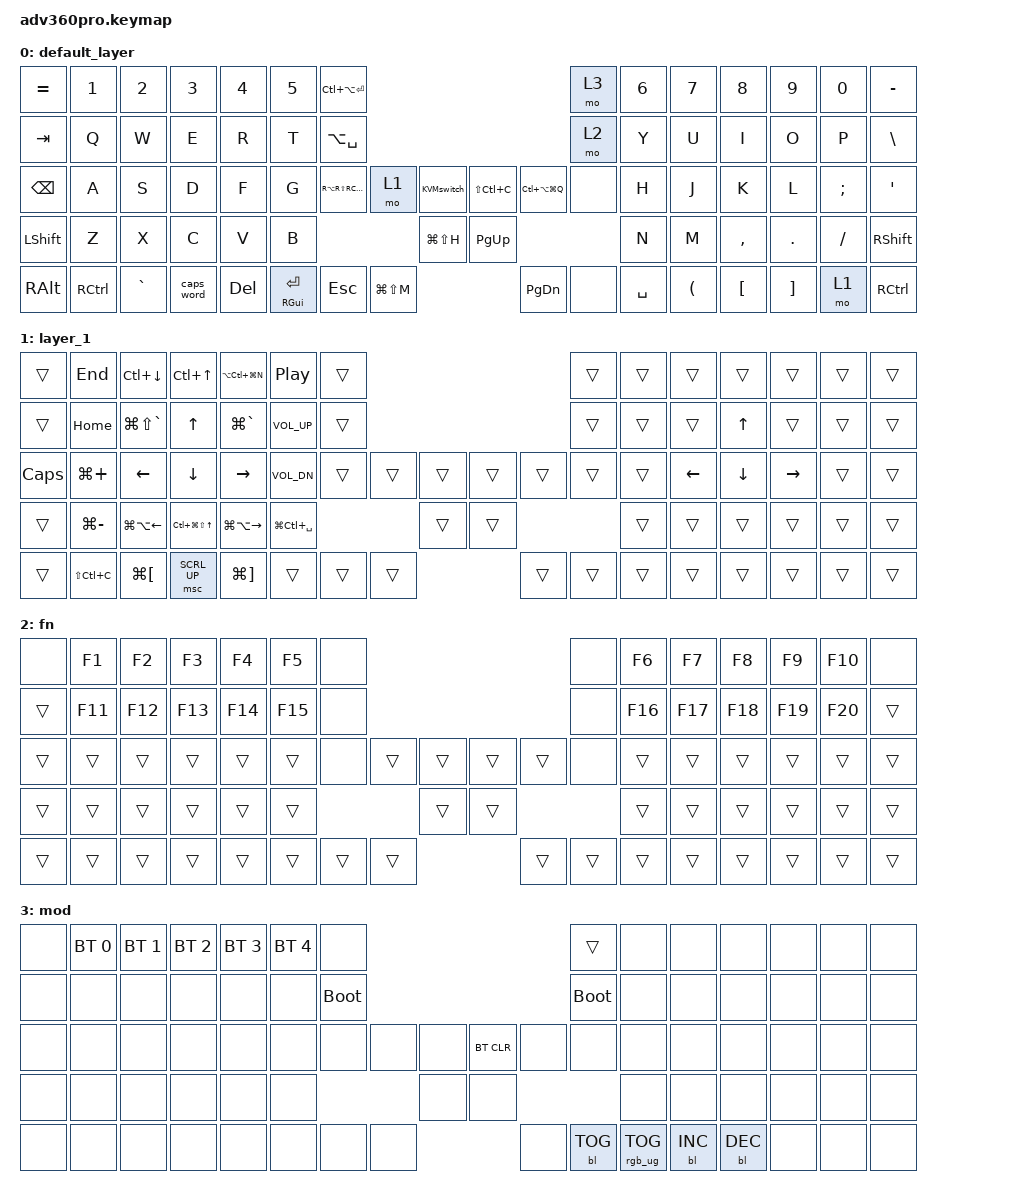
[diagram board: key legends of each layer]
#include <behaviors.dtsi>
#include <dt-bindings/zmk/backlight.h>
#include <dt-bindings/zmk/bt.h>
#include <dt-bindings/zmk/keys.h>
#include <dt-bindings/zmk/pointing.h>
#include <dt-bindings/zmk/rgb.h>

/ {
    behaviors {
        jlrHRM: jlrHRM {
            compatible = "zmk,behavior-hold-tap";
            label = "JLRHRM";
            #binding-cells = <2>;
            bindings = <&kp>, <&kp>;

            flavor = "tap-preferred";
            tapping-term-ms = <150>;
            quick-tap-ms = <0>;
            hold-trigger-key-positions = <32 31 30 29 41 42 43 44>;
            hold-trigger-on-release;
        };
    };

    macros {
        /* Ctrl, Ctrl, 0 (tap sequence) */

        KVMswitch: KVMswitch {
            compatible = "zmk,behavior-macro";
            label = "KVMSWITCH";
            #binding-cells = <0>;
            bindings =
                <&macro_tap>,
                <&kp LCTRL>,
                <&macro_tap>,
                <&kp LCTRL>,
                <&macro_tap>,
                <&kp N0>;
        };

        /* macOS Tile Left Half: Globe + Ctrl + Left */

        TileLeftHalf: TileLeftHalf {
            compatible = "zmk,behavior-macro";
            label = "TILELEFTHALF";
            #binding-cells = <0>;
            bindings =
                <&macro_press>,
                <&kp GLOBE &kp LCTRL>,
                <&macro_tap>,
                <&kp LEFT>,
                <&macro_release>,
                <&kp LCTRL &kp GLOBE>;
        };

        /* macOS Tile Right Half: Globe + Ctrl + Right */

        TileRightHalf: TileRightHalf {
            compatible = "zmk,behavior-macro";
            label = "TILERIGHTHALF";
            #binding-cells = <0>;
            bindings =
                <&macro_press>,
                <&kp GLOBE &kp LCTRL>,
                <&macro_tap>,
                <&kp RIGHT>,
                <&macro_release>,
                <&kp LCTRL &kp GLOBE>;
        };

        /* macOS Tile Bottom Half: Globe + Ctrl + Down */

        TileBottomHalf: TileBottomHalf {
            compatible = "zmk,behavior-macro";
            label = "TILEBOTTOMHALF";
            #binding-cells = <0>;
            bindings =
                <&macro_press>,
                <&kp GLOBE &kp LCTRL>,
                <&macro_tap>,
                <&kp DOWN>,
                <&macro_release>,
                <&kp LCTRL &kp GLOBE>;
        };

        /* macOS Tile Top Half: Globe + Ctrl + Up */

        TileTopHalf: TileTopHalf {
            compatible = "zmk,behavior-macro";
            label = "TILETOPHALF";
            #binding-cells = <0>;
            bindings =
                <&macro_press>,
                <&kp LC(GLOBE)>,
                <&macro_tap>,
                <&kp UP_ARROW>,
                <&macro_release>,
                <&kp LC(GLOBE)>;
        };

        /* Your test macro corrected to proper macro step format */
    };

    keymap {
        compatible = "zmk,keymap";

        default_layer {
            bindings = <
&kp EQUAL       &kp N1             &kp N2     &kp N3      &kp N4      &kp N5  &kp LC(LA(ENTER))                                                                                                     &mo 3  &kp N6  &kp N7                &kp N8            &kp N9             &kp N0    &kp MINUS
&kp TAB         &kp Q              &kp W      &kp E       &kp R       &kp T   &kp LA(SPACE)                                                                                                         &mo 2  &kp Y   &kp U                 &kp I             &kp O              &kp P     &kp BACKSLASH
&kp BACKSPACE   &kp A              &kp S      &kp D       &kp F       &kp G   &kp RA(RS(RC(RG(D))))                       &mo 1       &KVMswitch       &kp LS(LC(C))  &kp LC(LA(LG(Q)))             &none  &kp H   &kp J                 &kp K             &kp L              &kp SEMI  &kp APOSTROPHE
&kp LEFT_SHIFT  &kp Z              &kp X      &kp C       &kp V       &kp B                                                           &kp LG(LS(H))    &kp PAGE_UP                                         &kp N   &kp M                 &kp COMMA         &kp DOT            &kp FSLH  &kp RIGHT_SHIFT
&kp RIGHT_ALT   &kp RIGHT_CONTROL  &kp GRAVE  &caps_word  &kp DELETE                                 &mt RIGHT_GUI ENTER  &kp ESCAPE  &kp LG(LS(M))    &kp PAGE_DOWN  &none              &kp SPACE                 &kp LEFT_PARENTHESIS  &kp LEFT_BRACKET  &kp RIGHT_BRACKET  &mo 1     &kp RCTRL
            >;
        };

        layer_1 {
            bindings = <
&trans    &kp END        &kp LC(DOWN)          &kp LC(UP)                &kp LA(LC(LG(N)))      &kp C_PLAY_PAUSE   &trans                                                    &trans  &trans  &trans    &trans    &trans     &trans  &trans
&trans    &kp HOME       &kp LG(LS(GRAVE))     &kp UP_ARROW              &kp LG(GRAVE)          &kp C_VOL_UP       &trans                                                    &trans  &trans  &trans    &kp UP    &trans     &trans  &trans
&kp CAPS  &kp LG(PLUS)   &kp LEFT              &kp DOWN_ARROW            &kp RIGHT              &kp C_VOL_DN       &trans          &trans  &trans    &trans  &trans          &trans  &trans  &kp LEFT  &kp DOWN  &kp RIGHT  &trans  &trans
&trans    &kp LG(MINUS)  &kp LG(LA(LEFT))      &kp LC(LG(LS(UP_ARROW)))  &kp LG(LA(RIGHT))      &kp LG(LC(SPACE))                          &trans    &trans                          &trans  &trans    &trans    &trans     &trans  &trans
&trans    &kp LS(LC(C))  &kp LG(LEFT_BRACKET)  &msc SCRL_UP              &kp LG(RIGHT_BRACKET)                             &trans  &trans  &trans    &trans  &trans  &trans                  &trans    &trans    &trans     &trans  &trans
            >;
        };

        fn {
            bindings = <
&none   &kp F1   &kp F2   &kp F3   &kp F4   &kp F5   &none                                                    &none  &kp F6   &kp F7   &kp F8   &kp F9   &kp F10  &none
&trans  &kp F11  &kp F12  &kp F13  &kp F14  &kp F15  &none                                                    &none  &kp F16  &kp F17  &kp F18  &kp F19  &kp F20  &trans
&trans  &trans   &trans   &trans   &trans   &trans   &none          &trans  &trans    &trans  &trans          &none  &trans   &trans   &trans   &trans   &trans   &trans
&trans  &trans   &trans   &trans   &trans   &trans                          &trans    &trans                         &trans   &trans   &trans   &trans   &trans   &trans
&trans  &trans   &trans   &trans   &trans                   &trans  &trans  &trans    &trans  &trans  &trans                  &trans   &trans   &trans   &trans   &trans
            >;
        };

        mod {
            bindings = <
&none  &bt BT_SEL 0  &bt BT_SEL 1  &bt BT_SEL 2  &bt BT_SEL 3  &bt BT_SEL 4  &none                                                                        &trans       &none  &none       &none       &none  &none  &none
&none  &none         &none         &none         &none         &none         &bootloader                                                                  &bootloader  &none  &none       &none       &none  &none  &none
&none  &none         &none         &none         &none         &none         &none               &none  &none    &bt BT_CLR  &none                        &none        &none  &none       &none       &none  &none  &none
&none  &none         &none         &none         &none         &none                                    &none    &none                                                 &none  &none       &none       &none  &none  &none
&none  &none         &none         &none         &none                                    &none  &none  &none    &none       &bl BL_TOG  &rgb_ug RGB_TOG                      &bl BL_INC  &bl BL_DEC  &none  &none  &none
            >;
        };
    };
};
